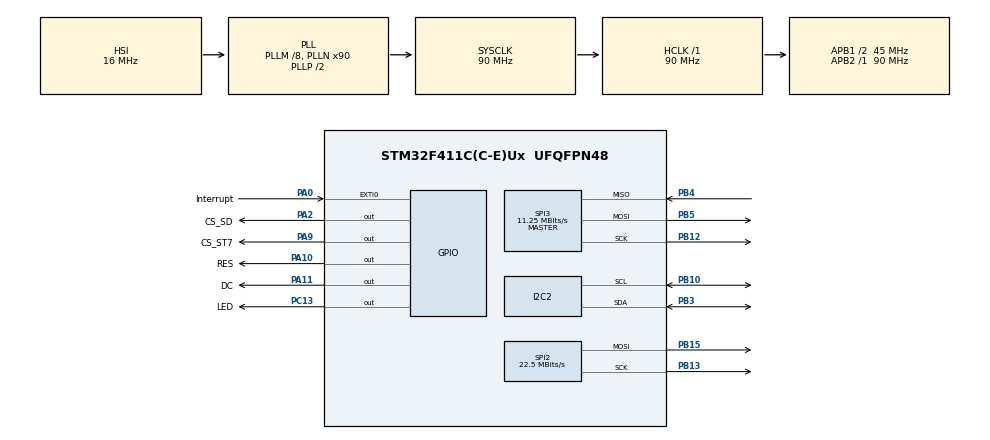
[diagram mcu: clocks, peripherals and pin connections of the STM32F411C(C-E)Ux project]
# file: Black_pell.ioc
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I2C2.I2C_Mode=I2C_Fast
Mcu.Family=STM32F4
Mcu.Name=STM32F411C(C-E)Ux
Mcu.Package=UFQFPN48
NVIC.EXTI0_IRQn=true\:0\:0\:false\:false\:true\:true\:true\:true
NVIC.PriorityGroup=NVIC_PRIORITYGROUP_4
PA0-WKUP.GPIO_Label=Interrupt
PA0-WKUP.Signal=GPXTI0
PA10.GPIO_Label=RES
PA10.GPIO_Speed=GPIO_SPEED_FREQ_HIGH
PA10.Signal=GPIO_Output
PA11.GPIO_Label=DC
PA11.GPIO_Speed=GPIO_SPEED_FREQ_HIGH
PA11.Signal=GPIO_Output
PA2.GPIO_Label=CS_SD
PA2.GPIO_Speed=GPIO_SPEED_FREQ_VERY_HIGH
PA2.PinState=GPIO_PIN_RESET
PA2.Signal=GPIO_Output
PA9.GPIO_Label=CS_ST7
PA9.GPIO_ModeDefaultOutputPP=GPIO_MODE_OUTPUT_PP
PA9.GPIO_Speed=GPIO_SPEED_FREQ_VERY_HIGH
PA9.PinState=GPIO_PIN_RESET
PA9.Signal=GPIO_Output
PB10.GPIO_Pu=GPIO_PULLUP
PB10.Mode=I2C
PB10.Signal=I2C2_SCL
PB12.Mode=Full_Duplex_Master
PB12.Signal=SPI3_SCK
PB13.Mode=TX_Only_Simplex_Unidirect_Master
PB13.Signal=SPI2_SCK
PB15.Mode=TX_Only_Simplex_Unidirect_Master
PB15.Signal=SPI2_MOSI
PB3.GPIO_Pu=GPIO_PULLUP
PB3.Mode=I2C
PB3.Signal=I2C2_SDA
PB4.Mode=Full_Duplex_Master
PB4.Signal=SPI3_MISO
PB5.Mode=Full_Duplex_Master
PB5.Signal=SPI3_MOSI
PC13-ANTI_TAMP.GPIO_Label=LED
PC13-ANTI_TAMP.Signal=GPIO_Output
PC14-OSC32_IN.Mode=LSE-External-Oscillator
PC14-OSC32_IN.Signal=RCC_OSC32_IN
PC15-OSC32_OUT.Mode=LSE-External-Oscillator
PC15-OSC32_OUT.Signal=RCC_OSC32_OUT
PH0\ -\ OSC_IN.Mode=HSE-External-Oscillator
PH0\ -\ OSC_IN.Signal=RCC_OSC_IN
PH1\ -\ OSC_OUT.Mode=HSE-External-Oscillator
PH1\ -\ OSC_OUT.Signal=RCC_OSC_OUT
ProjectManager.HeapSize=0x200
ProjectManager.StackSize=0x400
ProjectManager.TargetToolchain=STM32CubeIDE
RCC.48MHZClocksFreq_Value=45000000
RCC.AHBFreq_Value=90000000
RCC.APB1CLKDivider=RCC_HCLK_DIV2
RCC.APB1Freq_Value=45000000
RCC.APB1TimFreq_Value=90000000
RCC.APB2Freq_Value=90000000
RCC.APB2TimFreq_Value=90000000
RCC.CortexFreq_Value=90000000
RCC.HCLKFreq_Value=90000000
RCC.HSE_VALUE=25000000
RCC.HSI_VALUE=16000000
RCC.PLLM=8
RCC.PLLN=90
RCC.SYSCLKFreq_VALUE=90000000
RCC.SYSCLKSource=RCC_SYSCLKSOURCE_PLLCLK
RCC.VCOOutputFreq_Value=180000000
SPI2.BaudRatePrescaler=SPI_BAUDRATEPRESCALER_2
SPI2.CLKPolarity=SPI_POLARITY_HIGH
SPI2.CalculateBaudRate=22.5 MBits/s
SPI2.Direction=SPI_DIRECTION_2LINES
SPI2.Mode=SPI_MODE_MASTER
SPI2.VirtualType=VM_MASTER
SPI3.BaudRatePrescaler=SPI_BAUDRATEPRESCALER_4
SPI3.CLKPolarity=SPI_POLARITY_LOW
SPI3.CalculateBaudRate=11.25 MBits/s
SPI3.Direction=SPI_DIRECTION_2LINES
SPI3.Mode=SPI_MODE_MASTER
SPI3.VirtualType=VM_MASTER
board=custom

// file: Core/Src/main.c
/* USER CODE BEGIN Header */
/**
  ******************************************************************************
  * @file           : main.c
  * @brief          : Main program body
  ******************************************************************************
  * @attention
  *
  * <h2><center>&copy; Copyright (c) 2022 STMicroelectronics.
  * All rights reserved.</center></h2>
  *
  * This software component is licensed by ST under BSD 3-Clause license,
  * the "License"; You may not use this file except in compliance with the
  * License. You may obtain a copy of the License at:
  *                        opensource.org/licenses/BSD-3-Clause
  *
  ******************************************************************************
  */
/* USER CODE END Header */
#include "main.h"

/* USER CODE BEGIN Includes */
#include "I2C_base.h"
#include "I2C_ATH10.h"
#include "font_lcd.h"
#include "I2C_LCD.h"
#include "Roun_time.h"
#include "SPI_BASE.h"
#include "LCD_ST7.h"
#include "SD_Base_SPI.h"
//#include "Define_variables.h"
#include "Files_mng.h"
#include "LCD_ST7.h"
/* USER CODE END Includes */

I2C_HandleTypeDef hi2c2;
SPI_HandleTypeDef hspi2;
SPI_HandleTypeDef hspi3;
uint8_t state_int_A0;

void SystemClock_Config(void);
static void MX_GPIO_Init(void);
static void MX_I2C2_Init(void);
static void MX_SPI2_Init(void);
static void MX_SPI3_Init(void);
/* USER CODE BEGIN PFP */
static void configure_IF_Pixel_frmt(void);
static void configure_SPI_LCD(void);

/* USER CODE END PFP */

int main(void)
{
  /* USER CODE BEGIN 1 */
uint8_t count=0;
uint8_t funct_count 	= 0;
  /* USER CODE END 1 */

  /* MCU Configuration--------------------------------------------------------*/

  /* Reset of all peripherals, Initializes the Flash interface and the Systick. */
  HAL_Init();

  /* Configure the system clock */
  SystemClock_Config();

  /* Initialize all configured peripherals */
  MX_GPIO_Init();
  MX_I2C2_Init();
  MX_SPI2_Init();
  MX_SPI3_Init();
  /* USER CODE BEGIN 2 */

  init_I2C_P2();
  verify();
  verify_LCD();
  Configure_LCD(0);
  clear_lcd();
  Init_SPI_BASE();
  init_Pins();
  init_LCD_S7();
  Init_SD_SPI();

  configure_IF_Pixel_frmt();
  configure_SPI_LCD();
  Partial_Reset();
  Set_All_LCD_RGB(0,255,255);
//  Set_Etart_X_Y_End(0, 100, 50, 100);
//  RGB_Pix_Num(0X10, 0XAA, 0XFF, 50050);
//  Domi_test();

    WR_IMAGE_type_JPG(1);
//  Set_Etart_X_Y_End(0,240,0,50);
//  Set_brightness(0xFF);
//  RGB_Pix_Num(0x00,0x00,0xff,4800);

//  Set_All_LCD_RGB(0,0x33,0xFF);
//  Set_Pix_Format();

//  Domi_test();

//  set_colum_cords(55, 69, 2, 7);
//  funct_dummy2();
//  wr_number(5421);
//  wr_sectors(255,1, 2, 3, 4);
//  set_colum();
//  funct_dummy2();
//  set_colum_cords(0, 26, 2, 7);
//  test_swicht(1);

//  Set_brightness(0xAA);

    //Test CRC7
    int8_t test_val[] ={0x23,0x65,0x90,0x43,0x71,0x39};
//    (void)get_crc(test_val,6);
    SPI_initial_block();
    SPI_SD_Initialaze();
    Dummy_funct_SD();

//    dummyfunct_crc7();

//end test crc

  /* USER CODE END 2 */

  /* Infinite loop */
  /* USER CODE BEGIN WHILE */
  while (1)
  {
	  //clear_lcd();
	  HAL_GPIO_TogglePin(LED_GPIO_Port, LED_Pin);
	  HAL_Delay(500);

//	  SIG_RESET_LCD();
//	  HAL_SPI_Transmit(&hspi1, value_pdat_1, 2, 1);

	  if(state_int_A0 == 1)
	  {

		  steps_routine(funct_count);
		  if (count==20)
		  {
			  count=0;
			  funct_count++;
			  clear_lcd();
			  if(funct_count == 4)
			  {
				  state_int_A0 	=	0;
				  funct_count 	= 	0;
			  }

		  }
		  count++;
	  }

  }

    /* USER CODE END WHILE */

}

void SystemClock_Config(void)
{
  RCC_OscInitTypeDef RCC_OscInitStruct = {0};
  RCC_ClkInitTypeDef RCC_ClkInitStruct = {0};

  /** Configure the main internal regulator output voltage
  */
  __HAL_RCC_PWR_CLK_ENABLE();
  __HAL_PWR_VOLTAGESCALING_CONFIG(PWR_REGULATOR_VOLTAGE_SCALE1);

  /** Initializes the RCC Oscillators according to the specified parameters
  * in the RCC_OscInitTypeDef structure.
  */
  RCC_OscInitStruct.OscillatorType = RCC_OSCILLATORTYPE_HSI;
  RCC_OscInitStruct.HSIState = RCC_HSI_ON;
  RCC_OscInitStruct.HSICalibrationValue = RCC_HSICALIBRATION_DEFAULT;
  RCC_OscInitStruct.PLL.PLLState = RCC_PLL_ON;
  RCC_OscInitStruct.PLL.PLLSource = RCC_PLLSOURCE_HSI;
  RCC_OscInitStruct.PLL.PLLM = 8;
  RCC_OscInitStruct.PLL.PLLN = 90;
  RCC_OscInitStruct.PLL.PLLP = RCC_PLLP_DIV2;
  RCC_OscInitStruct.PLL.PLLQ = 4;
  if (HAL_RCC_OscConfig(&RCC_OscInitStruct) != HAL_OK)
  {
    Error_Handler();
  }

  /** Initializes the CPU, AHB and APB buses clocks
  */
  RCC_ClkInitStruct.ClockType = RCC_CLOCKTYPE_HCLK|RCC_CLOCKTYPE_SYSCLK
                              |RCC_CLOCKTYPE_PCLK1|RCC_CLOCKTYPE_PCLK2;
  RCC_ClkInitStruct.SYSCLKSource = RCC_SYSCLKSOURCE_PLLCLK;
  RCC_ClkInitStruct.AHBCLKDivider = RCC_SYSCLK_DIV1;
  RCC_ClkInitStruct.APB1CLKDivider = RCC_HCLK_DIV2;
  RCC_ClkInitStruct.APB2CLKDivider = RCC_HCLK_DIV1;

  if (HAL_RCC_ClockConfig(&RCC_ClkInitStruct, FLASH_LATENCY_2) != HAL_OK)
  {
    Error_Handler();
  }
}

static void MX_I2C2_Init(void)
{

  hi2c2.Instance = I2C2;
  hi2c2.Init.ClockSpeed = 400000;
  hi2c2.Init.DutyCycle = I2C_DUTYCYCLE_2;
  hi2c2.Init.OwnAddress1 = 0;
  hi2c2.Init.AddressingMode = I2C_ADDRESSINGMODE_7BIT;
  hi2c2.Init.DualAddressMode = I2C_DUALADDRESS_DISABLE;
  hi2c2.Init.OwnAddress2 = 0;
  hi2c2.Init.GeneralCallMode = I2C_GENERALCALL_DISABLE;
  hi2c2.Init.NoStretchMode = I2C_NOSTRETCH_DISABLE;
  if (HAL_I2C_Init(&hi2c2) != HAL_OK)
  {
    Error_Handler();
  }

}

static void MX_SPI2_Init(void)
{

  /* SPI2 parameter configuration*/
  hspi2.Instance = SPI2;
  hspi2.Init.Mode = SPI_MODE_MASTER;
  hspi2.Init.Direction = SPI_DIRECTION_2LINES;
  hspi2.Init.DataSize = SPI_DATASIZE_8BIT;
  hspi2.Init.CLKPolarity = SPI_POLARITY_HIGH;
  hspi2.Init.CLKPhase = SPI_PHASE_1EDGE;
  hspi2.Init.NSS = SPI_NSS_SOFT;
  hspi2.Init.BaudRatePrescaler = SPI_BAUDRATEPRESCALER_2;
  hspi2.Init.FirstBit = SPI_FIRSTBIT_MSB;
  hspi2.Init.TIMode = SPI_TIMODE_DISABLE;
  hspi2.Init.CRCCalculation = SPI_CRCCALCULATION_DISABLE;
  hspi2.Init.CRCPolynomial = 10;
  if (HAL_SPI_Init(&hspi2) != HAL_OK)
  {
    Error_Handler();
  }

}

static void MX_SPI3_Init(void)
{

  /* SPI3 parameter configuration*/
  hspi3.Instance = SPI3;
  hspi3.Init.Mode = SPI_MODE_MASTER;
  hspi3.Init.Direction = SPI_DIRECTION_2LINES;
  hspi3.Init.DataSize = SPI_DATASIZE_8BIT;
  hspi3.Init.CLKPolarity = SPI_POLARITY_LOW;
  hspi3.Init.CLKPhase = SPI_PHASE_1EDGE;
  hspi3.Init.NSS = SPI_NSS_SOFT;
  hspi3.Init.BaudRatePrescaler = SPI_BAUDRATEPRESCALER_4;
  hspi3.Init.FirstBit = SPI_FIRSTBIT_MSB;
  hspi3.Init.TIMode = SPI_TIMODE_DISABLE;
  hspi3.Init.CRCCalculation = SPI_CRCCALCULATION_DISABLE;
  hspi3.Init.CRCPolynomial = 10;
  if (HAL_SPI_Init(&hspi3) != HAL_OK)
  {
    Error_Handler();
  }

}

static void MX_GPIO_Init(void)
{
  GPIO_InitTypeDef GPIO_InitStruct = {0};

  /* GPIO Ports Clock Enable */
  __HAL_RCC_GPIOC_CLK_ENABLE();
  __HAL_RCC_GPIOH_CLK_ENABLE();
  __HAL_RCC_GPIOA_CLK_ENABLE();
  __HAL_RCC_GPIOB_CLK_ENABLE();

  /*Configure GPIO pin Output Level */
  HAL_GPIO_WritePin(LED_GPIO_Port, LED_Pin, GPIO_PIN_RESET);

  /*Configure GPIO pin Output Level */
  HAL_GPIO_WritePin(GPIOA, CS_SD_Pin|CS_ST7_Pin|RES_Pin|DC_Pin, GPIO_PIN_RESET);

  /*Configure GPIO pin : LED_Pin */
  GPIO_InitStruct.Pin = LED_Pin;
  GPIO_InitStruct.Mode = GPIO_MODE_OUTPUT_PP;
  GPIO_InitStruct.Pull = GPIO_NOPULL;
  GPIO_InitStruct.Speed = GPIO_SPEED_FREQ_LOW;
  HAL_GPIO_Init(LED_GPIO_Port, &GPIO_InitStruct);

  /*Configure GPIO pin : Interrupt_Pin */
  GPIO_InitStruct.Pin = Interrupt_Pin;
  GPIO_InitStruct.Mode = GPIO_MODE_IT_RISING;
  GPIO_InitStruct.Pull = GPIO_NOPULL;
  HAL_GPIO_Init(Interrupt_GPIO_Port, &GPIO_InitStruct);

  /*Configure GPIO pins : CS_SD_Pin CS_ST7_Pin */
  GPIO_InitStruct.Pin = CS_SD_Pin|CS_ST7_Pin;
  GPIO_InitStruct.Mode = GPIO_MODE_OUTPUT_PP;
  GPIO_InitStruct.Pull = GPIO_NOPULL;
  GPIO_InitStruct.Speed = GPIO_SPEED_FREQ_VERY_HIGH;
  HAL_GPIO_Init(GPIOA, &GPIO_InitStruct);

  /*Configure GPIO pins : RES_Pin DC_Pin */
  GPIO_InitStruct.Pin = RES_Pin|DC_Pin;
  GPIO_InitStruct.Mode = GPIO_MODE_OUTPUT_PP;
  GPIO_InitStruct.Pull = GPIO_NOPULL;
  GPIO_InitStruct.Speed = GPIO_SPEED_FREQ_HIGH;
  HAL_GPIO_Init(GPIOA, &GPIO_InitStruct);

  /* EXTI interrupt init*/
  HAL_NVIC_SetPriority(EXTI0_IRQn, 0, 0);
  HAL_NVIC_EnableIRQ(EXTI0_IRQn);

}

/* USER CODE BEGIN 4 */
void configure_SPI_LCD(void)
{
	Data_Accss Configure;
	uint8_t *conf= NULL;
	Configure.Color_Order=0;
	Configure.Colum_Adr_Ord=0;
	Configure.Disp_Dat_Latch=0;
	Configure.Line_Adrr_Ord=0;
	Configure.Pge_Addrs_Ord=0;
	Configure.Pge_Colum_Ord=0;
	Configure.dumy=0;
	Configure.dumy1=0;
	conf =&Configure;
	Mem_acces_crt(*conf );

}

static void configure_IF_Pixel_frmt(void)
{
	Pixel_Format Creat_pix_frmt;
	Creat_pix_frmt.Color_IF_Frm 	= Bits_16;
	Creat_pix_frmt.RGB_IF_Col_frm 	= RGB_262K;
	Pixel_format(Creat_pix_frmt);
}

extern void Set_flag_interrupt(uint8_t Value)
{
	state_int_A0 = Value;
}

/* USER CODE END 4 */

void Error_Handler(void)
{
  __disable_irq();
  while (1)
  {
  }
}
